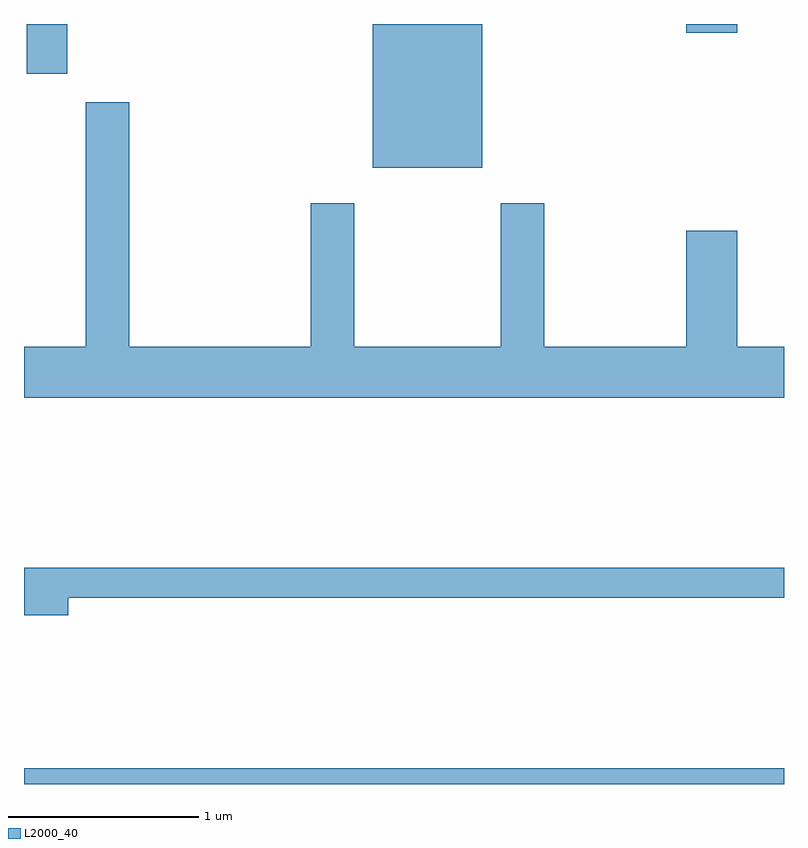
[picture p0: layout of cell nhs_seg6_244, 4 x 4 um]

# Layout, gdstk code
import gdstk
lib = gdstk.Library(unit=1e-6, precision=1e-09)
def R(c, l, rs):  # rectangles x0, y0, x1, y1
    for r in rs: c.add(gdstk.rectangle(r[:2], r[2:], *l))
def P(c, l, *ps):  # polygons
    for p in ps: c.add(gdstk.Polygon(p, *l))
L2000_40 = (2000, 40)

nhs_seg6_244 = lib.new_cell('nhs_seg6_244')
R(nhs_seg6_244, L2000_40, [(191.611,1610.162,195.611,1610.244), (193.446,1613.406,194.024,1614.162), (191.626,1613.901,191.839,1614.162), (195.096,1614.116,195.364,1614.162)])
P(nhs_seg6_244, L2000_40, [(195.611,1612.464),(195.364,1612.464),(195.364,1613.074),(195.096,1613.074),(195.096,1612.464),(194.349,1612.464),(194.349,1613.219),(194.121,1613.219),(194.121,1612.464),(193.349,1612.464),(193.349,1613.219),(193.121,1613.219),(193.121,1612.464),(192.164,1612.464),(192.164,1613.749),(191.936,1613.749),(191.936,1612.464),(191.611,1612.464),(191.611,1612.196),(195.611,1612.196)],
  [(191.844,1611.141),(195.611,1611.141),(195.611,1611.299),(191.611,1611.299),(191.611,1611.051),(191.844,1611.051)])

lib.write_gds('nhs_seg6_244.gds')
